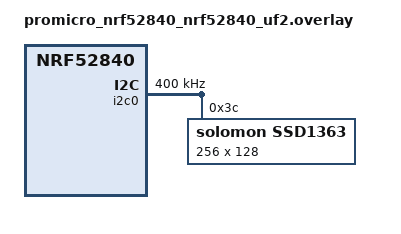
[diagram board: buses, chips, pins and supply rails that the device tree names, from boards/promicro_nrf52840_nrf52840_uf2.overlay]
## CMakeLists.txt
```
cmake_minimum_required(VERSION 3.20.0)

find_package(Zephyr REQUIRED HINTS $ENV{ZEPHYR_BASE})
project(3d_game_template)

target_sources(app PRIVATE src/main.c)

zephyr_syscall_include_directories(include)

zephyr_include_directories(include)
zephyr_include_directories(pl)


#PL3D-KC
target_sources(app PRIVATE
pl/clip.c
pl/gfx.c
pl/imode.c
pl/math.c
pl/pl.c
pl/framebuffer_effects.c
pl/hal.c
)
```

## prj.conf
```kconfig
CONFIG_DISPLAY=y
CONFIG_LOG=y
#CONFIG_LOG_DEFAULT_LEVEL=4
CONFIG_HEAP_MEM_POOL_SIZE=8192
CONFIG_INPUT=y
# PL3D needs a lot of stack! Trap on nrf52840 and pi pico
CONFIG_MAIN_STACK_SIZE=8192
CONFIG_TIMING_FUNCTIONS=y
CONFIG_SPEED_OPTIMIZATIONS=y
```

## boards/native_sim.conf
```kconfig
CONFIG_SDL_DISPLAY_DEFAULT_PIXEL_FORMAT_L_8=y
CONFIG_SDL_DISPLAY_ZOOM_PCT=1000
#CONFIG_SDL_DISPLAY_DEFAULT_PIXEL_FORMAT_RGB_565=y
```

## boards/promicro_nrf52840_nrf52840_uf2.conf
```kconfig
CONFIG_STACK_CANARIES=y
CONFIG_HW_STACK_PROTECTION=y
```

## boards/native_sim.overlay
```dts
&sdl_dc {
	compatible = "zephyr,sdl-dc";
	height = <128>;
	width = <256>;
};
```

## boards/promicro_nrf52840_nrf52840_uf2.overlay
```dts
/ {
	chosen {
		zephyr,display = &ssd1363;
	};

};

&i2c0 {
	status = "okay";
	clock-frequency = <I2C_BITRATE_FAST>;

	ssd1363: ssd1363@3c {
		compatible = "solomon,ssd1363";
		reg = <0x3c>;
		width = <256>;
		height = <128>;
		precharge-period = <0x8>;
		remap-value = <0x3200>;
		oscillator-freq = <0x30>;
		display-offset = <0x20>;
		column-offset = <32>;
		start-line = <0>;
		multiplex-ratio = <127>;
		phase-length = <0x74>;
		precharge-voltage = <0xc>;
		#greyscale-enhancement;
		greyscale-table = [02 04 05 06 07 08 09 0C 10 12 14 16 1E 24 2A];
		#inversion-on;
	};
};
```

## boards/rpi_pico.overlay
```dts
/ {
	chosen {
		zephyr,display = &ssd1363;
	};

};

&i2c0 {
	status = "okay";
	clock-frequency = <I2C_BITRATE_FAST_PLUS>;

	ssd1363: ssd1363@3c {
		compatible = "solomon,ssd1363";
		reg = <0x3c>;
		width = <256>;
		height = <128>;
		precharge-period = <0x8>;
		remap-value = <0x3200>;
		oscillator-freq = <0x30>;
		display-offset = <0x20>;
		column-offset = <32>;
		start-line = <0>;
		multiplex-ratio = <127>;
		phase-length = <0x74>;
		precharge-voltage = <0xc>;
		#greyscale-enhancement;
		greyscale-table = [02 04 05 06 07 08 09 0C 10 12 14 16 1E 24 2A];
		#inversion-on;
	};
};
```

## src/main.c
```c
#include "config.h"
#include "pl.h"
#include "framebuffer_effects.h"

#include <zephyr/kernel.h>
#include <zephyr/device.h>
#include <zephyr/drivers/display.h>
#include <zephyr/timing/timing.h>
#include <stdio.h>
#include <stdlib.h>

#include <zephyr/logging/log.h>
LOG_MODULE_REGISTER(main);

// intended for 48k dtcm
#if DT_HAS_CHOSEN(zephyr_dtcm)
static __attribute__((section("DTCM"))) uint8_t video_buffer[SIZE_W * PL_SIZE_H];
#else
static uint8_t video_buffer[PL_SIZE_W * PL_SIZE_H];
#endif
static int16_t depth_buffer[PL_SIZE_W * PL_SIZE_H];

static struct PL_OBJ *cube;
static struct PL_OBJ *cube_textured;

static struct PL_TEX checktex;
static int checker[PL_REQ_TEX_DIM * PL_REQ_TEX_DIM];

static void
maketex(void)
{
    int i, j, c;

    for (i = 0; i < PL_REQ_TEX_DIM; i++) {
        for (j = 0; j < PL_REQ_TEX_DIM; j++) {
            if (i < 0x2 || j < 0x2 ||
               (i > ((PL_REQ_TEX_DIM - 1) - 0x2)) ||
               (j > ((PL_REQ_TEX_DIM - 1) - 0x2))) {
                /* border color */
                c = 0xC0;
            } else {
                /* checkered pattern */
                if (((((i & 0x2)) ^ ((j & 0x2))))) {
                    c = 0x0;
                } else {
                    c = 0x50;
                }
            }
            if (i == j || abs(i - j) < 3) {
                /* thick red line along diagonal */
                checker[i + j * PL_REQ_TEX_DIM] = 0xFF;
            } else {
                checker[i + j * PL_REQ_TEX_DIM] = c;
            }
        }
    }
    checktex.data = checker;
}

#include "building_01.h"

static const struct device *display_device = DEVICE_DT_GET(DT_CHOSEN(zephyr_display));

int main()
{
	struct display_buffer_descriptor buf_desc;
	int sinvar = 0;
	timing_t start_time, end_time, dstart_time, rend_time, rstart_time;
	uint32_t total_time_us, render_time_us, draw_time_us;
	int close = 800;
	int scroll = 0;
	int close_add = 1;

	if (!device_is_ready(display_device)) {
		printf("Display device not ready");
		return 0;
	}

	timing_init();
	timing_start();

	//k_msleep(1000);
	display_blanking_on(display_device);
	display_set_pixel_format(display_device, PIXEL_FORMAT_L_8);
	display_blanking_off(display_device);

	maketex();

	PL_init(video_buffer, depth_buffer, PL_SIZE_W, PL_SIZE_H);

	//PL_set_viewport(64, 32, 192 - 1, 96 - 1, 1);

	PL_texture(NULL);

	cube = PL_gen_box(32, 32, 32, PL_ALL, 255, 255, 255);

	PL_texture(&checktex);

	cube_textured = PL_gen_box(32, 32, 32, PL_ALL, 255, 255, 255);

	PL_fov = 8;

	PL_cur_tex = NULL;
	PL_cull_mode = PL_CULL_BACK;
	PL_raster_mode = PL_WIREFRAME;

	buf_desc.buf_size = PL_SIZE_W * PL_SIZE_H;
	buf_desc.width = PL_SIZE_W;
	buf_desc.height = PL_SIZE_H;
	buf_desc.pitch = PL_SIZE_W;

	while (1) {
		start_time = timing_counter_get();
		/* clear viewport to black */
		PL_clear_vp(0, 0, 0);
		PL_polygon_count = 0;

		rstart_time = timing_counter_get();
		PL_set_camera(0, 0, 0, 0, 0, 0);

// 		{ /* draw edge cube */
// 			PL_raster_mode = PL_NODRAW;
// 			PL_mst_push();
// 			PL_mst_translate(0, -32, close);
// 			//PL_mst_rotatex(sinvar >> 2);
// 			PL_mst_rotatex(-32);
// 			PL_mst_rotatey(sinvar >> 1);
// 			//PL_mst_scale(PL_P_ONE * ((sinvar & 0xff) + 128) >> 8, PL_P_ONE, PL_P_ONE);
// 			PL_render_object(cube);
// 			PL_mst_pop();
// 		}
// 		simple_edge_2(PL_depth_buffer, PL_video_buffer, PL_SIZE_W * PL_SIZE_H, PL_SIZE_W, 512 << PL_P >>
// 16, 0xFF);
// 		{ /* draw textured cube */
// 			PL_texture(&checktex);
// 			PL_raster_mode = PL_TEXTURED_NOLIGHT;
// 			PL_mst_push();
// 			PL_mst_translate(0, 0, close +200);
// 			//PL_mst_rotatex(sinvar >> 2);
// 			PL_mst_rotatex(32);
// 			//PL_mst_rotatey(sinvar >> 1);
// 			//PL_mst_scale(PL_P_ONE * ((sinvar & 0xff) + 128) >> 8, PL_P_ONE, PL_P_ONE);
// 			PL_render_object(cube_textured);
// 			PL_mst_pop();
// 		}
// 		{ /* draw cube */
// 			PL_raster_mode = PL_FLAT_NOLIGHT;
// 			PL_mst_push();
// 			PL_mst_translate(0, 32, close + 500);
// 			//PL_mst_rotatex(sinvar >> 2);
// 			PL_mst_rotatex(64);
// 			//PL_mst_rotatey(sinvar >> 1);
// 			//PL_mst_scale(PL_P_ONE * ((sinvar & 0xff) + 128) >> 8, PL_P_ONE, PL_P_ONE);
// 			PL_render_object(cube);
// 			PL_mst_pop();
// 		}
// 		{ /* draw wireframe cube */
// 			PL_raster_mode = PL_WIREFRAME;
// 			PL_mst_push();
// 			PL_mst_translate(0, 64, close);
// 			//PL_mst_rotatex(sinvar >> 2);
// 			PL_mst_rotatex(64);
// 			PL_mst_rotatex(sinvar << 1);
// 			//PL_mst_scale(PL_P_ONE * ((sinvar & 0xff) + 128) >> 8, PL_P_ONE, PL_P_ONE);
// 			PL_render_object(cube);
// 			PL_mst_pop();
// 		}
// 		{ /* draw wireframe cube */
// 			PL_raster_mode = PL_FLAT;
// 			PL_mst_push();
// 			PL_mst_translate(-200,0, -400 + scroll);
// 			//PL_mst_rotatex(sinvar >> 2);
// 			PL_mst_rotatex(128);
// 			PL_mst_rotatey(0);
// 			PL_mst_rotatez(64);
// 			//PL_mst_scale(PL_P_ONE * ((sinvar & 0xff) + 128) >> 8, PL_P_ONE, PL_P_ONE);
// 			PL_render_object(&world);
// 			PL_mst_pop();
// 		}
		{ /* draw wireframe cube */
			PL_raster_mode = PL_TEXTURED_NOLIGHT;
			PL_mst_push();
			PL_mst_translate(-10, -100, 1200 + close);
			//PL_mst_rotatex(sinvar >> 2);
			PL_mst_rotatex(sinvar << 1);
			PL_mst_rotatey(128);
			PL_mst_rotatez(64);
			//PL_mst_scale(PL_P_ONE * ((sinvar & 0xff) + 128) >> 8, PL_P_ONE, PL_P_ONE);
			PL_render_object_const(&building_01);
			PL_mst_pop();
		}
		rend_time = timing_counter_get();
		dstart_time = timing_counter_get();
		display_write(display_device, 0, 0, &buf_desc, video_buffer);
		end_time = timing_counter_get();
		total_time_us = timing_cycles_to_ns(timing_cycles_get(&start_time, &end_time)) / 1000;
		render_time_us = timing_cycles_to_ns(timing_cycles_get(&rstart_time, &rend_time)) / 1000;
		draw_time_us = timing_cycles_to_ns(timing_cycles_get(&dstart_time, &end_time)) / 1000;
		printf("total us: %u ms:%u fps:%u\n", total_time_us, (total_time_us) / 1000, 1000000 / (total_time_us != 0 ? total_time_us : 1));
		printf("display us:%u render us:%u render fps: %u\n", draw_time_us, render_time_us, 1000000 / (render_time_us != 0 ? render_time_us : 1));
		printf("rendered %u Polygons, %u polygons per second\n", PL_polygon_count, PL_polygon_count * 1000000 / (render_time_us != 0 ? render_time_us : 1));
		sinvar+=1;
		close+=close_add*5;
		if (close > 1000)
		{
			close_add = -1;
		}
		else if (close < -0)
		{
			close_add = 1;
		}
		scroll -= 10;
		k_msleep(1);
		//return 0;
		//msleep(100);
	}

	return 0;
}
```
